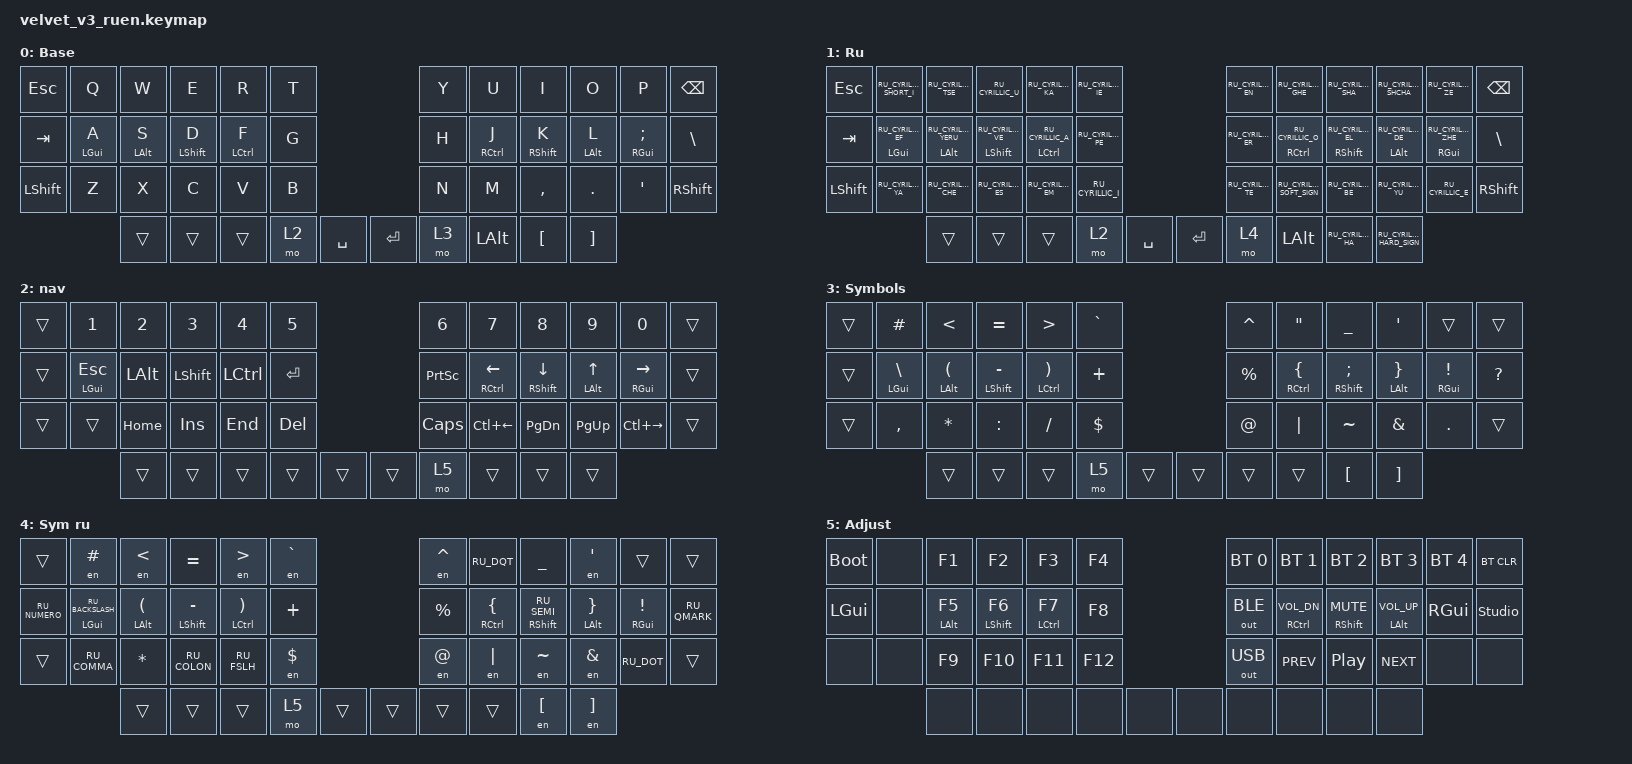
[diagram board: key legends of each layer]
#include "keys_ru.h"
#include <behaviors.dtsi>
#include <dt-bindings/zmk/bt.h>
#include <dt-bindings/zmk/keys.h>
#include <dt-bindings/zmk/outputs.h>

&mt {
    quick-tap-ms = <200>;
    flavor = "tap-preferred";
    require-prior-idle-ms = <125>;
};

/ {
    behaviors {
        hml: home_row_mod_left {
            compatible = "zmk,behavior-hold-tap";
            #binding-cells = <2>;
            flavor = "balanced";
            require-prior-idle-ms = <150>;
            tapping-term-ms = <280>;
            quick-tap-ms = <175>;
            bindings = <&kp>, <&kp>;
            hold-trigger-key-positions = <6 7 8 9 10 11 18 19 20 21 22 23 30 31 32 33 34 35 41 42 43 44 45>;
            hold-trigger-on-release;
        };

        hmr: home_row_mod_right {
            compatible = "zmk,behavior-hold-tap";
            #binding-cells = <2>;
            flavor = "balanced";
            require-prior-idle-ms = <150>;
            tapping-term-ms = <280>;
            quick-tap-ms = <175>;
            bindings = <&kp>, <&kp>;
            hold-trigger-key-positions = <0 1 2 3 4 5 12 13 14 15 16 17 24 25 26 27 28 29 36 37 38 39 40>;
            hold-trigger-on-release;
        };
    };

    combos {
        compatible = "zmk,combos";

        cmben {
            bindings = <&layer_en>;
            key-positions = <3 4>;
            layers = <1>;
        };

        cmbru {
            bindings = <&layer_ru>;
            key-positions = <3 4>;
            layers = <0>;
        };

        kha {
            bindings = <&kp LBKT>;
            key-positions = <7 8>;
        };

        hrdsgn {
            bindings = <&kp RBKT>;
            key-positions = <8 9>;
        };
    };

    macros {
        to_ru: to_ru {
            compatible = "zmk,behavior-macro";
            #binding-cells = <0>;
            bindings = <&kp LS(LC(N2))>;
            label = "TO_RU";
            wait-ms = <0>;
            tap-ms = <30>;
        };

        to_en: to_en {
            compatible = "zmk,behavior-macro";
            #binding-cells = <0>;
            bindings = <&kp LS(LC(N1))>;
            label = "TO_EN";
            wait-ms = <0>;
            tap-ms = <30>;
        };

        layer_en: layer_en {
            compatible = "zmk,behavior-macro";
            #binding-cells = <0>;
            bindings = <&to 0 &to_en>;
            label = "LAYER_EN";
            wait-ms = <0>;
            tap-ms = <30>;
        };

        layer_ru: layer_ru {
            compatible = "zmk,behavior-macro";
            #binding-cells = <0>;
            bindings = <&to 1 &to_ru>;
            label = "LAYER_RU";
            tap-ms = <30>;
            wait-ms = <0>;
        };

        en: en {
            compatible = "zmk,behavior-macro-one-param";
            #binding-cells = <1>;
            bindings =
                <&to_en>,
                <&macro_press>,
                <&macro_param_1to1 &kp MACRO_PLACEHOLDER>,
                <&macro_pause_for_release>,
                <&macro_release>,
                <&macro_param_1to1 &kp MACRO_PLACEHOLDER>,
                <&macro_tap>,
                <&to_ru>;

            label = "EN";
            wait-ms = <0>;
            tap-ms = <30>;
        };
    };

    keymap {
        compatible = "zmk,keymap";

        en {
            bindings = <
&kp ESC    &kp Q  &kp W      &kp E     &kp R      &kp T                        &kp Y  &kp U     &kp I      &kp O     &kp P     &kp BSPC
&kp TAB    &hml LGUI A  &hml LALT S  &hml LSHFT D  &hml LCTRL F  &kp G                        &kp H  &hmr RCTRL J  &hmr RSHFT K  &hmr LALT L  &hmr RGUI SEMICOLON  &kp BSLH
&kp LSHFT  &kp Z  &kp X      &kp C     &kp V      &kp B                        &kp N  &kp M     &kp COMMA  &kp DOT   &kp SQT   &kp RSHFT
                  &trans     &trans    &trans    &mo 2  &kp SPACE    &kp RET  &mo 3  &kp LALT  &kp LBKT   &kp RBKT
            >;

            display-name = "Base";
        };

        ru {
            display-name = "Ru";
            bindings = <
&kp ESC    &kp RU_CYRILLIC_SHORT_I  &kp RU_CYRILLIC_TSE   &kp RU_CYRILLIC_U   &kp RU_CYRILLIC_KA  &kp RU_CYRILLIC_IE                        &kp RU_CYRILLIC_EN  &kp RU_CYRILLIC_GHE        &kp RU_CYRILLIC_SHA  &kp RU_CYRILLIC_SHCHA      &kp RU_CYRILLIC_ZE   &kp BSPC
&kp TAB    &hml LGUI RU_CYRILLIC_EF  &hml LALT RU_CYRILLIC_YERU  &hml LSHFT RU_CYRILLIC_VE  &hml LCTRL RU_CYRILLIC_A  &kp RU_CYRILLIC_PE                        &kp RU_CYRILLIC_ER  &hmr RCTRL RU_CYRILLIC_O  &hmr RSHFT RU_CYRILLIC_EL  &hmr LALT RU_CYRILLIC_DE  &hmr RGUI RU_CYRILLIC_ZHE  &kp BSLH
&kp LSHFT  &kp RU_CYRILLIC_YA       &kp RU_CYRILLIC_CHE   &kp RU_CYRILLIC_ES  &kp RU_CYRILLIC_EM  &kp RU_CYRILLIC_I                         &kp RU_CYRILLIC_TE  &kp RU_CYRILLIC_SOFT_SIGN  &kp RU_CYRILLIC_BE   &kp RU_CYRILLIC_YU         &kp RU_CYRILLIC_E    &kp RSHFT
                                    &trans                &trans              &trans             &mo 2               &kp SPACE    &kp RET  &mo 4               &kp LALT                   &kp RU_CYRILLIC_HA   &kp RU_CYRILLIC_HARD_SIGN
            >;
        };

        nav {
            bindings = <
&trans  &kp N1  &kp N2    &kp N3   &kp N4   &kp N5                     &kp N6    &kp N7        &kp N8         &kp N9       &kp N0         &trans
&trans  &hml LGUI ESC  &kp LALT  &kp LSHFT  &kp LCTRL  &kp ENTER                    &kp PRINTSCREEN  &hmr RCTRL LEFT  &hmr RSHFT DOWN  &hmr LALT UP  &hmr RGUI RIGHT  &trans
&trans  &trans  &kp HOME  &kp INS  &kp END  &kp DEL                    &kp CLCK  &kp LC(LEFT)  &kp PAGE_DOWN  &kp PAGE_UP  &kp LC(RIGHT)  &trans
                &trans    &trans   &trans   &trans   &trans    &trans  &mo 5     &trans        &trans         &trans
            >;

            display-name = "nav";
            label = "Navigation";
        };

        sym_en {
            bindings = <
&trans  &kp HASH   &kp LT    &kp EQUAL  &kp GT    &kp GRAVE                    &kp CARET  &kp DQT   &kp UNDER  &kp SQT   &trans    &trans
&trans  &hml LGUI BSLH  &hml LALT LPAR  &hml LSHFT MINUS  &hml LCTRL RPAR  &kp PLUS                     &kp PRCNT  &hmr RCTRL LBRC  &hmr RSHFT SEMI  &hmr LALT RBRC  &hmr RGUI EXCL  &kp QUESTION
&trans  &kp COMMA  &kp STAR  &kp COLON  &kp FSLH  &kp DLLR                     &kp AT     &kp PIPE  &kp TILDE  &kp AMPS  &kp DOT   &trans
                   &trans    &trans     &trans    &mo 5      &trans    &trans  &trans     &trans    &kp LBKT   &kp RBKT
            >;

            display-name = "Symbols";
        };

        sym_ru {
            display-name = "Sym ru";
            bindings = <
&trans         &en HASH          &en LT    &kp EQUAL     &en GT       &en GRAVE                    &en CARET  &kp RU_DQT  &kp UNDER    &en SQT   &trans      &trans
&kp RU_NUMERO  &hml LGUI RU_BACKSLASH  &hml LALT LPAR  &hml LSHFT MINUS  &hml LCTRL RPAR  &kp PLUS                     &kp PRCNT  &hmr RCTRL LBRC  &hmr RSHFT RU_SEMI  &hmr LALT RBRC  &hmr RGUI EXCL  &kp RU_QMARK
&trans         &kp RU_COMMA      &kp STAR  &kp RU_COLON  &kp RU_FSLH  &en DLLR                     &en AT     &en PIPE    &en TILDE    &en AMPS  &kp RU_DOT  &trans
                                 &trans    &trans        &trans       &mo 5      &trans    &trans  &trans     &trans      &en LBKT     &en RBKT
            >;
        };

        adj {
            bindings = <
&bootloader  &none  &kp F1  &kp F2   &kp F3   &kp F4                   &bt BT_SEL 0  &bt BT_SEL 1  &bt BT_SEL 2      &bt BT_SEL 3  &bt BT_SEL 4  &bt BT_CLR
&kp LGUI     &none  &hml LALT F5  &hml LSHFT F6  &hml LCTRL F7  &kp F8                   &out OUT_BLE  &hmr RCTRL C_VOL_DN  &hmr RSHFT C_MUTE  &hmr LALT C_VOL_UP  &kp RGUI     &studio_unlock
&none        &none  &kp F9  &kp F10  &kp F11  &kp F12                  &out OUT_USB  &kp C_PREV    &kp C_PLAY_PAUSE  &kp C_NEXT    &none         &none
                    &none   &none    &none    &none    &none    &none  &none         &none         &none             &none
            >;

            display-name = "Adjust";
        };
    };
};
